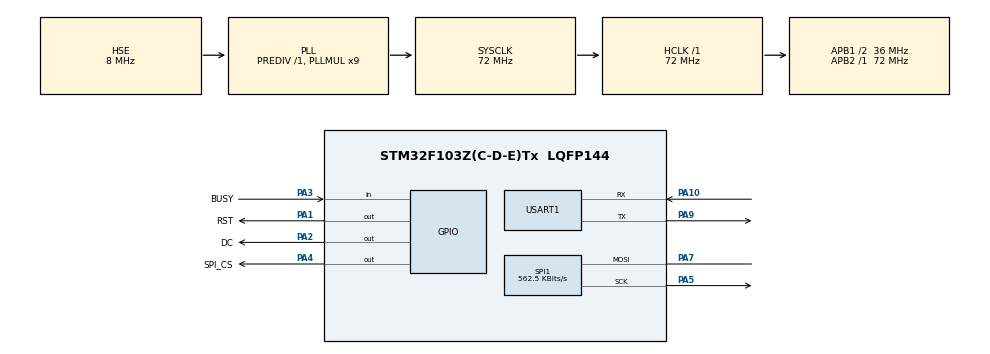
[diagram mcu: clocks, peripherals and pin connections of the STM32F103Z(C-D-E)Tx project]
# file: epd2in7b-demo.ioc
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Mcu.Family=STM32F1
Mcu.Name=STM32F103Z(C-D-E)Tx
Mcu.Package=LQFP144
NVIC.PriorityGroup=NVIC_PRIORITYGROUP_4
OSC_IN.Mode=HSE-External-Oscillator
OSC_IN.Signal=RCC_OSC_IN
OSC_OUT.Mode=HSE-External-Oscillator
OSC_OUT.Signal=RCC_OSC_OUT
PA1.GPIO_Label=RST
PA1.Signal=GPIO_Output
PA10.Mode=Asynchronous
PA10.Signal=USART1_RX
PA2.GPIO_Label=DC
PA2.Signal=GPIO_Output
PA3.GPIO_Label=BUSY
PA3.Signal=GPIO_Input
PA4.GPIO_Label=SPI_CS
PA4.PinState=GPIO_PIN_RESET
PA4.Signal=GPIO_Output
PA5.Mode=Simplex_Bidirectional_Master
PA5.Signal=SPI1_SCK
PA7.Mode=Simplex_Bidirectional_Master
PA7.Signal=SPI1_MOSI
PA9.Mode=Asynchronous
PA9.Signal=USART1_TX
ProjectManager.HeapSize=0x3000
ProjectManager.StackSize=0x1000
ProjectManager.TargetToolchain=MDK-ARM V5
RCC.AHBFreq_Value=72000000
RCC.APB1CLKDivider=RCC_HCLK_DIV2
RCC.APB1Freq_Value=36000000
RCC.APB1TimFreq_Value=72000000
RCC.APB2Freq_Value=72000000
RCC.APB2TimFreq_Value=72000000
RCC.HCLKFreq_Value=72000000
RCC.PLLMUL=RCC_PLL_MUL9
RCC.PLLSourceVirtual=RCC_PLLSOURCE_HSE
RCC.SYSCLKFreq_VALUE=72000000
RCC.SYSCLKSource=RCC_SYSCLKSOURCE_PLLCLK
RCC.USBFreq_Value=72000000
SPI1.BaudRatePrescaler=SPI_BAUDRATEPRESCALER_128
SPI1.CLKPhase=SPI_PHASE_1EDGE
SPI1.CLKPolarity=SPI_POLARITY_LOW
SPI1.CalculateBaudRate=562.5 KBits/s
SPI1.Direction=SPI_DIRECTION_1LINE
SPI1.Mode=SPI_MODE_MASTER
SPI1.VirtualType=VM_MASTER
USART1.VirtualMode=VM_ASYNC
VP_SYS_VS_ND.Mode=No_Debug
board=epd2in7b-demo

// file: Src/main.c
/**
  ******************************************************************************
  * File Name          : main.c
  * Description        : Main program body
  ******************************************************************************
  ** This notice applies to any and all portions of this file
  * that are not between comment pairs USER CODE BEGIN and
  * USER CODE END. Other portions of this file, whether
  * inserted by the user or by software development tools
  * are owned by their respective copyright owners.
  *
  * COPYRIGHT(c) 2017 STMicroelectronics
  *
  * Redistribution and use in source and binary forms, with or without modification,
  * are permitted provided that the following conditions are met:
  *   1. Redistributions of source code must retain the above copyright notice,
  *      this list of conditions and the following disclaimer.
  *   2. Redistributions in binary form must reproduce the above copyright notice,
  *      this list of conditions and the following disclaimer in the documentation
  *      and/or other materials provided with the distribution.
  *   3. Neither the name of STMicroelectronics nor the names of its contributors
  *      may be used to endorse or promote products derived from this software
  *      without specific prior written permission.
  *
  * THIS SOFTWARE IS PROVIDED BY THE COPYRIGHT HOLDERS AND CONTRIBUTORS "AS IS"
  * AND ANY EXPRESS OR IMPLIED WARRANTIES, INCLUDING, BUT NOT LIMITED TO, THE
  * IMPLIED WARRANTIES OF MERCHANTABILITY AND FITNESS FOR A PARTICULAR PURPOSE ARE
  * DISCLAIMED. IN NO EVENT SHALL THE COPYRIGHT HOLDER OR CONTRIBUTORS BE LIABLE
  * FOR ANY DIRECT, INDIRECT, INCIDENTAL, SPECIAL, EXEMPLARY, OR CONSEQUENTIAL
  * DAMAGES (INCLUDING, BUT NOT LIMITED TO, PROCUREMENT OF SUBSTITUTE GOODS OR
  * SERVICES; LOSS OF USE, DATA, OR PROFITS; OR BUSINESS INTERRUPTION) HOWEVER
  * CAUSED AND ON ANY THEORY OF LIABILITY, WHETHER IN CONTRACT, STRICT LIABILITY,
  * OR TORT (INCLUDING NEGLIGENCE OR OTHERWISE) ARISING IN ANY WAY OUT OF THE USE
  * OF THIS SOFTWARE, EVEN IF ADVISED OF THE POSSIBILITY OF SUCH DAMAGE.
  *
  ******************************************************************************
  */
#include "main.h"
#include "stm32f1xx_hal.h"

/* USER CODE BEGIN Includes */
#include "epd2in7b.h"
#include "epdif.h"
#include "epdpaint.h"
#include "imagedata.h"
#include <stdlib.h>
/* USER CODE END Includes */

SPI_HandleTypeDef hspi1;

UART_HandleTypeDef huart1;

/* USER CODE BEGIN PV */
/* Private variables ---------------------------------------------------------*/
#define COLORED      1
#define UNCOLORED    0
/* USER CODE END PV */

void SystemClock_Config(void);
static void MX_GPIO_Init(void);
static void MX_USART1_UART_Init(void);
static void MX_SPI1_Init(void);

/* USER CODE BEGIN PFP */
/* Private function prototypes -----------------------------------------------*/

/* USER CODE END PFP */

int main(void)
{

  /* USER CODE BEGIN 1 */
  /* you have to edit the startup_stm32fxxx.s file and set a big enough heap size */
  unsigned char* frame_buffer_black = (unsigned char*)malloc(EPD_WIDTH * EPD_HEIGHT / 8);
  unsigned char* frame_buffer_red = (unsigned char*)malloc(EPD_WIDTH * EPD_HEIGHT / 8);
  /* USER CODE END 1 */

  /* MCU Configuration----------------------------------------------------------*/

  /* Reset of all peripherals, Initializes the Flash interface and the Systick. */
  HAL_Init();

  /* Configure the system clock */
  SystemClock_Config();

  /* Initialize all configured peripherals */
  MX_GPIO_Init();
  MX_USART1_UART_Init();
  MX_SPI1_Init();

  /* USER CODE BEGIN 2 */
  EPD epd;
  if (EPD_Init(&epd) != 0) {
    printf("e-Paper init failed\n");
    return -1;
  }

  Paint paint_black;
  Paint paint_red;
  Paint_Init(&paint_black, frame_buffer_black, epd.width, epd.height);
  Paint_Init(&paint_red, frame_buffer_red, epd.width, epd.height);

  /* Draw something to the frame buffer */
  /* For simplicity, the arguments are explicit numerical coordinates */
  Paint_SetRotate(&paint_black, ROTATE_0);
  Paint_SetRotate(&paint_red, ROTATE_0);
  Paint_DrawStringAt(&paint_black, 4, 50, "e-Paper Demo", &Font20, COLORED);
  Paint_DrawRectangle(&paint_black, 10, 130, 50, 180, COLORED);
  Paint_DrawLine(&paint_black, 10, 130, 50, 180, COLORED);
  Paint_DrawLine(&paint_black, 50, 130, 10, 180, COLORED);
  Paint_DrawCircle(&paint_black, 120, 150, 30, COLORED);
  Paint_DrawFilledRectangle(&paint_red, 10, 200, 50, 250, COLORED);
  Paint_DrawFilledRectangle(&paint_red, 0, 76, 176, 96, COLORED);
  Paint_DrawFilledCircle(&paint_red, 120, 220, 30, COLORED);
  Paint_DrawStringAt(&paint_red, 18, 80, "Hello world!", &Font16, UNCOLORED);

  /* Display the frame_buffer */
  EPD_DisplayFrame(&epd, frame_buffer_black, frame_buffer_red);

  /* Display the image buffer */
  EPD_DisplayFrame(&epd, IMAGE_BLACK, IMAGE_RED);

  /* USER CODE END 2 */

  /* Infinite loop */
  while (1)
  {

  }

}

/** System Clock Configuration
*/
void SystemClock_Config(void)
{

  RCC_OscInitTypeDef RCC_OscInitStruct;
  RCC_ClkInitTypeDef RCC_ClkInitStruct;

    /**Initializes the CPU, AHB and APB busses clocks
    */
  RCC_OscInitStruct.OscillatorType = RCC_OSCILLATORTYPE_HSE;
  RCC_OscInitStruct.HSEState = RCC_HSE_ON;
  RCC_OscInitStruct.HSEPredivValue = RCC_HSE_PREDIV_DIV1;
  RCC_OscInitStruct.HSIState = RCC_HSI_ON;
  RCC_OscInitStruct.PLL.PLLState = RCC_PLL_ON;
  RCC_OscInitStruct.PLL.PLLSource = RCC_PLLSOURCE_HSE;
  RCC_OscInitStruct.PLL.PLLMUL = RCC_PLL_MUL9;
  if (HAL_RCC_OscConfig(&RCC_OscInitStruct) != HAL_OK)
  {
    _Error_Handler(__FILE__, __LINE__);
  }

    /**Initializes the CPU, AHB and APB busses clocks
    */
  RCC_ClkInitStruct.ClockType = RCC_CLOCKTYPE_HCLK|RCC_CLOCKTYPE_SYSCLK
                              |RCC_CLOCKTYPE_PCLK1|RCC_CLOCKTYPE_PCLK2;
  RCC_ClkInitStruct.SYSCLKSource = RCC_SYSCLKSOURCE_PLLCLK;
  RCC_ClkInitStruct.AHBCLKDivider = RCC_SYSCLK_DIV1;
  RCC_ClkInitStruct.APB1CLKDivider = RCC_HCLK_DIV2;
  RCC_ClkInitStruct.APB2CLKDivider = RCC_HCLK_DIV1;

  if (HAL_RCC_ClockConfig(&RCC_ClkInitStruct, FLASH_LATENCY_2) != HAL_OK)
  {
    _Error_Handler(__FILE__, __LINE__);
  }

    /**Configure the Systick interrupt time
    */
  HAL_SYSTICK_Config(HAL_RCC_GetHCLKFreq()/1000);

    /**Configure the Systick
    */
  HAL_SYSTICK_CLKSourceConfig(SYSTICK_CLKSOURCE_HCLK);

  /* SysTick_IRQn interrupt configuration */
  HAL_NVIC_SetPriority(SysTick_IRQn, 0, 0);
}

/* SPI1 init function */
static void MX_SPI1_Init(void)
{

  hspi1.Instance = SPI1;
  hspi1.Init.Mode = SPI_MODE_MASTER;
  hspi1.Init.Direction = SPI_DIRECTION_1LINE;
  hspi1.Init.DataSize = SPI_DATASIZE_8BIT;
  hspi1.Init.CLKPolarity = SPI_POLARITY_LOW;
  hspi1.Init.CLKPhase = SPI_PHASE_1EDGE;
  hspi1.Init.NSS = SPI_NSS_SOFT;
  hspi1.Init.BaudRatePrescaler = SPI_BAUDRATEPRESCALER_128;
  hspi1.Init.FirstBit = SPI_FIRSTBIT_MSB;
  hspi1.Init.TIMode = SPI_TIMODE_DISABLE;
  hspi1.Init.CRCCalculation = SPI_CRCCALCULATION_DISABLE;
  hspi1.Init.CRCPolynomial = 10;
  if (HAL_SPI_Init(&hspi1) != HAL_OK)
  {
    _Error_Handler(__FILE__, __LINE__);
  }

}

/* USART1 init function */
static void MX_USART1_UART_Init(void)
{

  huart1.Instance = USART1;
  huart1.Init.BaudRate = 115200;
  huart1.Init.WordLength = UART_WORDLENGTH_8B;
  huart1.Init.StopBits = UART_STOPBITS_1;
  huart1.Init.Parity = UART_PARITY_NONE;
  huart1.Init.Mode = UART_MODE_TX_RX;
  huart1.Init.HwFlowCtl = UART_HWCONTROL_NONE;
  huart1.Init.OverSampling = UART_OVERSAMPLING_16;
  if (HAL_UART_Init(&huart1) != HAL_OK)
  {
    _Error_Handler(__FILE__, __LINE__);
  }

}

/** Configure pins as
        * Analog
        * Input
        * Output
        * EVENT_OUT
        * EXTI
*/
static void MX_GPIO_Init(void)
{

  GPIO_InitTypeDef GPIO_InitStruct;

  /* GPIO Ports Clock Enable */
  __HAL_RCC_GPIOA_CLK_ENABLE();

  /*Configure GPIO pin Output Level */
  HAL_GPIO_WritePin(GPIOA, RST_Pin|DC_Pin|SPI_CS_Pin, GPIO_PIN_RESET);

  /*Configure GPIO pins : RST_Pin DC_Pin SPI_CS_Pin */
  GPIO_InitStruct.Pin = RST_Pin|DC_Pin|SPI_CS_Pin;
  GPIO_InitStruct.Mode = GPIO_MODE_OUTPUT_PP;
  GPIO_InitStruct.Speed = GPIO_SPEED_FREQ_LOW;
  HAL_GPIO_Init(GPIOA, &GPIO_InitStruct);

  /*Configure GPIO pin : BUSY_Pin */
  GPIO_InitStruct.Pin = BUSY_Pin;
  GPIO_InitStruct.Mode = GPIO_MODE_INPUT;
  GPIO_InitStruct.Pull = GPIO_NOPULL;
  HAL_GPIO_Init(BUSY_GPIO_Port, &GPIO_InitStruct);

}

/* USER CODE BEGIN 4 */
#ifdef __GNUC__
  /* With GCC/RAISONANCE, small printf (option LD Linker->Libraries->Small printf
     set to 'Yes') calls __io_putchar() */
  #define PUTCHAR_PROTOTYPE int __io_putchar(int ch)
#else
  #define PUTCHAR_PROTOTYPE int fputc(int ch, FILE *f)
#endif /* __GNUC__ */
/**
  * @brief  Retargets the C library printf function to the USART.
  * @param  None
  * @retval None
  */
PUTCHAR_PROTOTYPE
{
  /* Place your implementation of fputc here */
  /* e.g. write a character to the EVAL_COM1 and Loop until the end of transmission */
  HAL_UART_Transmit(&huart1, (uint8_t *)&ch, 1, 0xFFFF);

  return ch;
}
/* USER CODE END 4 */

void _Error_Handler(char * file, int line)
{
  while(1)
  {
  }
}

/************************ (C) COPYRIGHT STMicroelectronics *****END OF FILE****/
